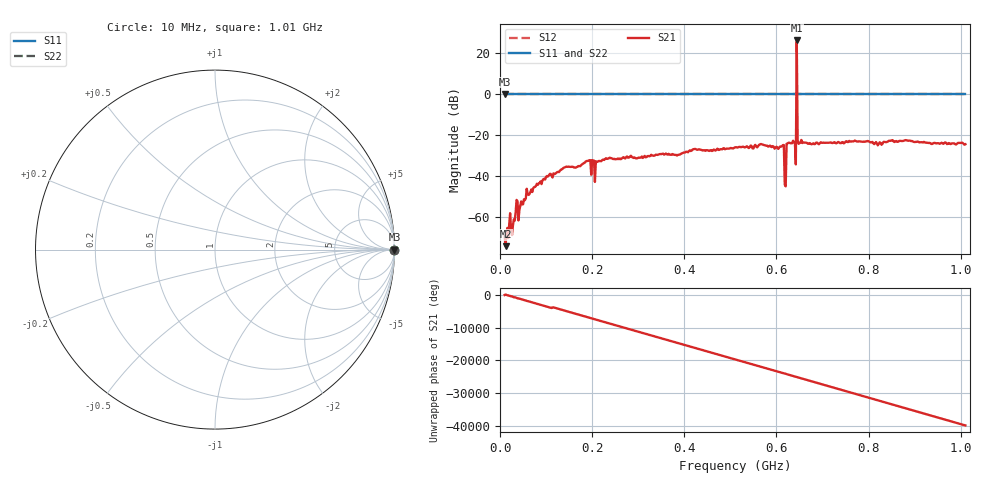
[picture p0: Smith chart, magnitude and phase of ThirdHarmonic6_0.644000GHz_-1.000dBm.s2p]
! 8/15/2025 9:20:40 PM
! C:\ANRITSUVNA\TEMP\TEMP.S2P
! CHANNEL.1
! TR.MEASUREMENT
! RAW.DATA
! RF.CORRECTION.OFF
! AVERAGING.OFF
! IF.BANDWIDTH: 5KHZ
! SWEEPTYPE:  FREQ.SWEEP(Linear)
! Reference Plane Port Info
! PORT:  PORT1  PORT2
! DISTANCE:  0  m  0  m
! TIME:  0  s  0  s
! PHASE.OFFSET:  0  deg.  0  deg.
! LOSS:  0  dB  0  dB
! REF.LOSS:  0  dB  0  dB
! REF.FREQ:  0  Hz  0  Hz
! Power Info
! POWER:  -20  dBm  -20  dBm
! EFF.POWER:  -20  dBm  -20  dBm
! SOURCE.ATTEN:  0  dB  0  dB
! TEST.ATTEN:  0  dB  0  dB
# GHZ S RI R 50.0
! FREQ.GHZ  S11RE  S11IM  S21RE  S21IM  S12RE  S12IM  S22RE  S22IM
!; PortSelection: Port_12
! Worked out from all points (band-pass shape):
!   501 points, 10 MHz to 1.01 GHz, reference 50 ohm
!   highest |S21| = 26.08 dB at 644 MHz (marker M1); lowest = -73.9 dB at 12 MHz (marker M2)
!   |S21| within 3 dB of the highest: 643.9004 MHz to 644.1231 MHz (222.7 kHz wide, 0.0346 % of centre)
!   lowest |S11| = 0.0 dB at 10 MHz (marker M3)
!   |S11| at or under -10 dB: nowhere
!   |S22| runs from 0.0 to 0.0 dB; largest |S21 - S12| = 21
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0.01  1 0  0.000313 -0.000165  1 0  1 0
0.012  1 0  -0.000127 0.000156  1 0  1 0
0.018  1 0  -0.000213 -0.000236  1 0  1 0
0.028  1 0  -0.000456 0.00044  1 0  1 0
0.034  1 0  0.000767 -0.00109  1 0  1 0
0.076  1 0  0.00553 -0.000161  1 0  1 0
0.14  1 0  0.00188 -0.0164  1 0  1 0
0.178  1 0  -0.0196 -0.000931  1 0  1 0
0.344  1 0  0.0275 -0.02  1 0  1 0
0.51  1 0  -0.0293 0.0413  1 0  1 0
0.612  1 0  0.0512 -0.0174  1 0  1 0
0.616  1 0  -0.0577 0.000196  1 0  1 0
0.622  1 0  0.0262 -0.056  1 0  1 0
0.626  1 0  -0.0438 0.0487  1 0  1 0
0.638  1 0  0.0671 0.00405  1 0  1 0
0.64  1 0  0.0152 -0.0649  1 0  1 0
0.644  1 0  -17.3 10.28  1 0  1 0
0.648  1 0  0.042 -0.0456  1 0  1 0
0.65  1 0  -0.0342 -0.054  1 0  1 0
0.678  1 0  -0.0612 -0.00648  1 0  1 0
0.844  1 0  0.0615 -0.0397  1 0  1 0
1.01  1 0  -0.00688 0.06  1 0  1 0
